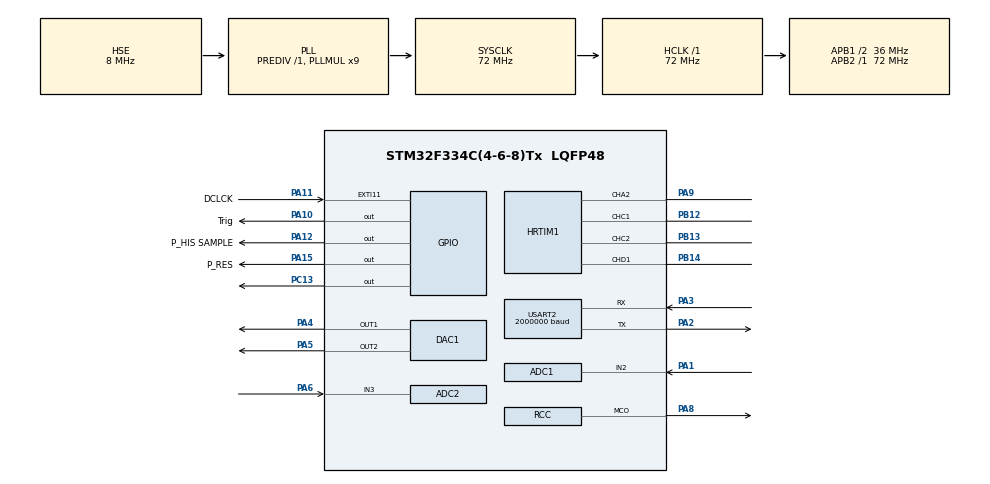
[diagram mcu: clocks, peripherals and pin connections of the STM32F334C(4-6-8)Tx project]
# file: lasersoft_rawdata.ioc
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ADC1.Channel-0\#ChannelRegularConversion=ADC_CHANNEL_2
ADC1.ClockPrescaler=ADC_CLOCK_ASYNC
ADC1.ContinuousConvMode=DISABLE
ADC1.DMAContinuousRequests=ENABLE
ADC1.DataAlign=ADC_DATAALIGN_RIGHT
ADC1.DiscontinuousConvMode=DISABLE
ADC1.EOCSelection=EOC_SINGLE_CONV
ADC1.EnableAnalogWatchDog1=false
ADC1.EnableAnalogWatchDog2=false
ADC1.EnableAnalogWatchDog3=false
ADC1.EnableInjectedConversion=ENABLE
ADC1.EnableRegularConversion=ENABLE
ADC1.ExternalTrigConv=ADC_EXTERNALTRIGCONV_T1_CC2
ADC1.ExternalTrigConvEdge=ADC_EXTERNALTRIGCONVEDGE_RISING
ADC1.InjNumberOfConversion=0
ADC1.LowPowerAutoWait=DISABLE
ADC1.NbrOfConversion=1
ADC1.NbrOfConversionFlag=1
ADC1.Offset-0\#ChannelRegularConversion=0
ADC1.OffsetNumber-0\#ChannelRegularConversion=ADC_OFFSET_NONE
ADC1.Overrun=OVR_DATA_OVERWRITTEN
ADC1.Rank-0\#ChannelRegularConversion=1
ADC1.Resolution=ADC_RESOLUTION12b
ADC1.SamplingTime-0\#ChannelRegularConversion=ADC_SAMPLETIME_2CYCLES_5
ADC1.ScanConvMode=ADC_SCAN_DISABLE
ADC1.SubFamily=STM32F334x8
ADC1.master=1
ADC2.Channel-0\#ChannelRegularConversion=ADC_CHANNEL_3
ADC2.ClockPrescaler=ADC_CLOCK_ASYNC
ADC2.ContinuousConvMode=DISABLE
ADC2.DMAContinuousRequests=ENABLE
ADC2.DataAlign=ADC_DATAALIGN_RIGHT
ADC2.DiscontinuousConvMode=DISABLE
ADC2.EOCSelection=EOC_SINGLE_CONV
ADC2.EnableAnalogWatchDog1=false
ADC2.EnableAnalogWatchDog2=false
ADC2.EnableAnalogWatchDog3=false
ADC2.EnableInjectedConversion=ENABLE
ADC2.EnableRegularConversion=ENABLE
ADC2.ExternalTrigConv=ADC_EXTERNALTRIGCONV_T1_CC3
ADC2.ExternalTrigConvEdge=ADC_EXTERNALTRIGCONVEDGE_RISING
ADC2.InjNumberOfConversion=0
ADC2.LowPowerAutoWait=DISABLE
ADC2.NbrOfConversion=1
ADC2.NbrOfConversionFlag=1
ADC2.Offset-0\#ChannelRegularConversion=0
ADC2.OffsetNumber-0\#ChannelRegularConversion=ADC_OFFSET_NONE
ADC2.Overrun=OVR_DATA_OVERWRITTEN
ADC2.Rank-0\#ChannelRegularConversion=1
ADC2.Resolution=ADC_RESOLUTION12b
ADC2.SamplingTime-0\#ChannelRegularConversion=ADC_SAMPLETIME_2CYCLES_5
ADC2.ScanConvMode=ADC_SCAN_DISABLE
ADC2.SubFamily=STM32F334x8
Dma.ADC1.1.Direction=DMA_PERIPH_TO_MEMORY
Dma.ADC1.1.Instance=DMA1_Channel1
Dma.ADC1.1.MemDataAlignment=DMA_MDATAALIGN_HALFWORD
Dma.ADC1.1.MemInc=DMA_MINC_ENABLE
Dma.ADC1.1.Mode=DMA_CIRCULAR
Dma.ADC1.1.PeriphDataAlignment=DMA_PDATAALIGN_HALFWORD
Dma.ADC1.1.PeriphInc=DMA_PINC_DISABLE
Dma.ADC1.1.Priority=DMA_PRIORITY_HIGH
Dma.ADC2.2.Direction=DMA_PERIPH_TO_MEMORY
Dma.ADC2.2.Instance=DMA1_Channel2
Dma.ADC2.2.MemDataAlignment=DMA_MDATAALIGN_HALFWORD
Dma.ADC2.2.MemInc=DMA_MINC_ENABLE
Dma.ADC2.2.Mode=DMA_CIRCULAR
Dma.ADC2.2.PeriphDataAlignment=DMA_PDATAALIGN_HALFWORD
Dma.ADC2.2.PeriphInc=DMA_PINC_DISABLE
Dma.ADC2.2.Priority=DMA_PRIORITY_HIGH
Dma.Request0=USART2_TX
Dma.Request1=ADC1
Dma.Request2=ADC2
Dma.USART2_TX.0.Direction=DMA_MEMORY_TO_PERIPH
Dma.USART2_TX.0.Instance=DMA1_Channel7
Dma.USART2_TX.0.MemDataAlignment=DMA_MDATAALIGN_BYTE
Dma.USART2_TX.0.MemInc=DMA_MINC_ENABLE
Dma.USART2_TX.0.Mode=DMA_CIRCULAR
Dma.USART2_TX.0.PeriphDataAlignment=DMA_PDATAALIGN_BYTE
Dma.USART2_TX.0.PeriphInc=DMA_PINC_DISABLE
Dma.USART2_TX.0.Priority=DMA_PRIORITY_LOW
HRTIM1.CompareUnit1-Output_TC1TC2=HRTIM_COMPAREUNIT_1
HRTIM1.CompareUnit1-Output_TD1=HRTIM_COMPAREUNIT_1
HRTIM1.CompareUnit2-Output_TA2=HRTIM_COMPAREUNIT_2
HRTIM1.CompareUnit2-Output_TC1TC2=HRTIM_COMPAREUNIT_2
HRTIM1.CompareUnit2-Output_TD1=HRTIM_COMPAREUNIT_2
HRTIM1.CompareUnit3-Output_TC1TC2=HRTIM_COMPAREUNIT_3
HRTIM1.CompareUnit3-Output_TD1=HRTIM_COMPAREUNIT_3
HRTIM1.CompareValue1-Output_TC1TC2=100
HRTIM1.CompareValue1-Output_TD1=99
HRTIM1.CompareValue2-Output_TA2=185
HRTIM1.CompareValue2-Output_TC1TC2=285
HRTIM1.CompareValue2-Output_TD1=185
HRTIM1.CompareValue3-Output_TC1TC2=469
HRTIM1.CompareValue3-Output_TD1=470
HRTIM1.ModeTimeBase-Output_TA2=HRTIM_MODE_SINGLESHOT
HRTIM1.ModeTimeBase-Output_TC1TC2=HRTIM_MODE_SINGLESHOT
HRTIM1.ModeTimeBase-Output_TD1=HRTIM_MODE_SINGLESHOT
HRTIM1.NumberResetSource1-Output_TC1TC2=1
HRTIM1.NumberResetSource1-Output_TD1=1
HRTIM1.NumberResetSource2-Output_TA2=1
HRTIM1.NumberResetSource2_TC=1
HRTIM1.NumberSetSource1-Output_TC1TC2=1
HRTIM1.NumberSetSource1-Output_TD1=1
HRTIM1.NumberSetSource2-Output_TA2=1
HRTIM1.NumberSetSource2_TC=1
HRTIM1.Periode_TA=46080
HRTIM1.Periode_TC=46080
HRTIM1.Periode_TD=46080
HRTIM1.Polarity1-Output_TD1=HRTIM_OUTPUTPOLARITY_LOW
HRTIM1.ResetOutput1_Source1-Output_TC1TC2=HRTIM_OUTPUTRESET_TIMCMP2
HRTIM1.ResetOutput1_Source1-Output_TD1=HRTIM_OUTPUTRESET_TIMCMP3
HRTIM1.ResetOutput2_Source1-Output_TA2=HRTIM_OUTPUTRESET_TIMCMP2
HRTIM1.ResetOutput2_Source1-Output_TC1TC2=HRTIM_OUTPUTRESET_TIMCMP3
HRTIM1.SetOutput1_Source1-Output_TC1TC2=HRTIM_OUTPUTSET_TIMCMP1
HRTIM1.SetOutput1_Source1-Output_TD1=HRTIM_OUTPUTSET_TIMCMP1
HRTIM1.SetOutput2_Source1-Output_TA2=HRTIM_OUTPUTSET_RESYNC
HRTIM1.SetOutput2_Source1-Output_TC1TC2=HRTIM_OUTPUTSET_TIMCMP2
Mcu.Family=STM32F3
Mcu.Name=STM32F334C(4-6-8)Tx
Mcu.Package=LQFP48
NVIC.DMA1_Channel1_IRQn=true\:0\:0\:true
NVIC.DMA1_Channel2_IRQn=true\:0\:0\:false
NVIC.DMA1_Channel7_IRQn=true\:1\:1\:true
NVIC.PriorityGroup=NVIC_PRIORITYGROUP_2
NVIC.TIM1_UP_TIM16_IRQn=true\:2\:0\:true
NVIC.USART2_IRQn=true\:1\:1\:true
PA1.Mode=IN2-Single-Ended
PA1.Signal=ADC1_IN2
PA10.GPIO_Label=Trig
PA10.GPIO_ModeDefaultOutputPP=GPIO_MODE_OUTPUT_PP
PA10.GPIO_PuPd=GPIO_NOPULL
PA10.GPIO_Speed=GPIO_SPEED_MEDIUM
PA10.Signal=GPIO_Output
PA11.GPIO_Label=DCLCK
PA11.GPIO_ModeDefaultEXTI=GPIO_MODE_EVT_RISING
PA11.GPIO_PuPd=GPIO_NOPULL
PA11.Signal=GPXTI11
PA12.GPIO_Label=P_HIS SAMPLE
PA12.GPIO_ModeDefaultOutputPP=GPIO_MODE_OUTPUT_PP
PA12.GPIO_PuPd=GPIO_NOPULL
PA12.GPIO_Speed=GPIO_SPEED_MEDIUM
PA12.Signal=GPIO_Output
PA13.Mode=Trace-Asynchronous_SW
PA13.Signal=SYS_JTMS-SWDIO
PA14.Mode=Trace-Asynchronous_SW
PA14.Signal=SYS_JTCK-SWCLK
PA15.GPIO_Label=P_RES
PA15.GPIO_ModeDefaultOutputPP=GPIO_MODE_OUTPUT_PP
PA15.GPIO_PuPd=GPIO_NOPULL
PA15.GPIO_Speed=GPIO_SPEED_MEDIUM
PA15.Signal=GPIO_Output
PA2.Mode=Asynchronous
PA2.Signal=USART2_TX
PA3.Mode=Asynchronous
PA3.Signal=USART2_RX
PA4.Signal=COMP_DAC11_group
PA5.Signal=COMP_DAC12_group
PA6.Mode=IN3-Single-Ended
PA6.Signal=ADC2_IN3
PA8.GPIO_Mode=GPIO_MODE_AF_PP
PA8.GPIO_PuPd=GPIO_NOPULL
PA8.GPIO_Speed=GPIO_SPEED_HIGH
PA8.Mode=Clock-out
PA8.Signal=RCC_MCO
PA9.Mode=Output_TA2
PA9.Signal=HRTIM1_CHA2
PB12.Mode=Output_TC1TC2
PB12.Signal=HRTIM1_CHC1
PB13.Mode=Output_TC1TC2
PB13.Signal=HRTIM1_CHC2
PB14.Mode=Output_TD1
PB14.Signal=HRTIM1_CHD1
PB3.Mode=Trace-Asynchronous_SW
PB3.Signal=SYS_JTDO-TRACESWO
PC13.GPIO_ModeDefaultOutputPP=GPIO_MODE_OUTPUT_OD
PC13.GPIO_PuPd=GPIO_NOPULL
PC13.GPIO_Speed=GPIO_SPEED_LOW
PC13.Signal=GPIO_Output
PF0\ /\ OSC_IN.Mode=HSE-External-Oscillator
PF0\ /\ OSC_IN.Signal=RCC_OSC_IN
PF1\ /\ OSC_OUT.Mode=HSE-External-Oscillator
PF1\ /\ OSC_OUT.Signal=RCC_OSC_OUT
ProjectManager.TargetToolchain=MDK-ARM V5
RCC.AHBFreq_Value=72000000
RCC.APB1CLKDivider=RCC_HCLK_DIV2
RCC.APB1Freq_Value=36000000
RCC.APB1TimFreq_Value=72000000
RCC.APB2Freq_Value=72000000
RCC.APB2TimFreq_Value=72000000
RCC.CortexFreq_Value=72000000
RCC.HCLKFreq_Value=72000000
RCC.HRTIMSelection=RCC_HRTIM1CLK_PLLCLK
RCC.HSE_VALUE=8000000
RCC.HSIState=RCC_HSI_ON
RCC.HSI_VALUE=8000000
RCC.LSE_VALUE=32768
RCC.PLLMUL=RCC_PLL_MUL9
RCC.PLLSourceVirtual=RCC_PLLSOURCE_HSE
RCC.RCC_MCODiv=RCC_MCO_DIV2
RCC.RCC_MCOMult_Clock_Source_FROM_PLLMUL=RCC_MCOSOURCE_PLLCLK_DIV2
RCC.RCC_MCOSource=RCC_MCOSOURCE_HSE
RCC.SYSCLKFreq_VALUE=72000000
RCC.SYSCLKSourceVirtual=RCC_SYSCLKSOURCE_PLLCLK
RCC.Usart2ClockSelection=RCC_USART2CLKSOURCE_SYSCLK
SH.COMP_DAC11_group.0=DAC1_OUT1,DAC_OUT1
SH.COMP_DAC12_group.0=DAC1_OUT2,DAC_OUT2
TIM1.Period=500
TIM1.Prescaler=72
USART2.BaudRate=2000000
USART2.WordLength=UART_WORDLENGTH_8B
VP_IWDG_VS_IWDG.Mode=IWDG_Activate
VP_TIM1_VS_ClockSourceINT.Mode=Internal
board=lasersoft_nondebug

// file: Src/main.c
/**
  ******************************************************************************
  * File Name          : main.c
  * Description        : Main program body
  ******************************************************************************
  *
  * COPYRIGHT(c) 2015 STMicroelectronics
  *
  * Redistribution and use in source and binary forms, with or without modification,
  * are permitted provided that the following conditions are met:
  *   1. Redistributions of source code must retain the above copyright notice,
  *      this list of conditions and the following disclaimer.
  *   2. Redistributions in binary form must reproduce the above copyright notice,
  *      this list of conditions and the following disclaimer in the documentation
  *      and/or other materials provided with the distribution.
  *   3. Neither the name of STMicroelectronics nor the names of its contributors
  *      may be used to endorse or promote products derived from this software
  *      without specific prior written permission.
  *
  * THIS SOFTWARE IS PROVIDED BY THE COPYRIGHT HOLDERS AND CONTRIBUTORS "AS IS"
  * AND ANY EXPRESS OR IMPLIED WARRANTIES, INCLUDING, BUT NOT LIMITED TO, THE
  * IMPLIED WARRANTIES OF MERCHANTABILITY AND FITNESS FOR A PARTICULAR PURPOSE ARE
  * DISCLAIMED. IN NO EVENT SHALL THE COPYRIGHT HOLDER OR CONTRIBUTORS BE LIABLE
  * FOR ANY DIRECT, INDIRECT, INCIDENTAL, SPECIAL, EXEMPLARY, OR CONSEQUENTIAL
  * DAMAGES (INCLUDING, BUT NOT LIMITED TO, PROCUREMENT OF SUBSTITUTE GOODS OR
  * SERVICES; LOSS OF USE, DATA, OR PROFITS; OR BUSINESS INTERRUPTION) HOWEVER
  * CAUSED AND ON ANY THEORY OF LIABILITY, WHETHER IN CONTRACT, STRICT LIABILITY,
  * OR TORT (INCLUDING NEGLIGENCE OR OTHERWISE) ARISING IN ANY WAY OUT OF THE USE
  * OF THIS SOFTWARE, EVEN IF ADVISED OF THE POSSIBILITY OF SUCH DAMAGE.
  *
  ******************************************************************************
  */
#include "stm32f3xx_hal.h"
#include "adc.h"
#include "dac.h"
#include "dma.h"
#include "hrtim.h"
#include "iwdg.h"
#include "tim.h"
#include "usart.h"
#include "gpio.h"

/* USER CODE BEGIN Includes */
#include <string.h>
#include <math.h>
/* USER CODE END Includes */

/* USER CODE BEGIN PV */

//5 lasers

//#define laser_red

//#define laser_J

//#define laser_S

//#define laser_K

#define laser_T

/* USER CODE END PV */

void SystemClock_Config(void);

/* USER CODE BEGIN PFP */
#define DAC_1V 1240
#define DAC_2_125V 2530
//#define LASER850
//#define DIST_MEASURE

uint16_t ADC_DATABUFF_A[272];
uint16_t ADC_DATABUFF_B[272];

uint16_t ADC_RESET_A[272];
uint16_t ADC_RESET_B[272];

uint16_t ADC_AMBIENT_A[272];// per 100ms....
uint16_t ADC_AMBIENT_B[272];

float poly[7];

//status, for checking calculation in main while(1)
typedef enum {idle=0,converting=1,finished=2}ADC_STATUS;
typedef enum {ambient=0,normal=1}WORKING_STATUS;
//ADC and temporary working status
volatile ADC_STATUS ADCStatus;
WORKING_STATUS WORKINGStatus;
//distance data
uint16_t DISTANCE_DATA[274]; //use this to store distance data.
uint16_t TEST_DATA[8][274];
//raw data buff
volatile uint16_t TXRAWBUFF[548];   // head 1,  num 1, count num 1, A 272, B 272, tail 1........ ALL 550(544+1+1+1+1)
//reserved
volatile uint16_t TXBUFF[274];
int TIMERCOUNTER = 0;
uint8_t UART_RE_DATA[2];
int pulse_num = 0;

float ambient_coef;

// A lot of parameters used to calculate the distance
float SR = 1.04; // sensitivity ratio
float Dofs = 2.0;  // distance offset
float Tilt = 1.0;   //tilt value
float top,bot;
int record[8];
//these values could be changed by usart

/* USER CODE END PFP */

/* USER CODE BEGIN 0 */
extern void DelayUs(uint32_t dwTime);
extern void Delay250ns(uint32_t dwTime);
/* USER CODE END 0 */

int main(void)
{

  /* USER CODE BEGIN 1 */
#ifdef DIST_MEASURE
  DISTANCE_DATA[0] = 0xa1a2;
	DISTANCE_DATA[273] = 0x2b2a;
#else
	 TXRAWBUFF[0] = 0xa1a2;
	 TXRAWBUFF[547] = 0x2b2a;
#endif

  /* USER CODE END 1 */

  /* MCU Configuration----------------------------------------------------------*/

  /* Reset of all peripherals, Initializes the Flash interface and the Systick. */
  HAL_Init();

  /* Configure the system clock */
  SystemClock_Config();

  /* Initialize all configured peripherals */
  MX_GPIO_Init();
  MX_DMA_Init();
  MX_ADC1_Init();
  MX_ADC2_Init();
  MX_DAC1_Init();
  MX_HRTIM1_Init();
  MX_IWDG_Init();
  MX_TIM1_Init();
  MX_USART2_UART_Init();

  /* USER CODE BEGIN 2 */

	/****************************
	HRTIM CONFIGURATION:
			PB12=C1=VTX1    PB13=C2=VTX2
			PB14=D1=VTX3    PA9=A2=PULSE
	******************************/
	{
	//channel C TC1 and TC2    as VTX1 and VTX2
		//test!!! should be in a function
		{
			int hrtim_offset = -40;
#ifdef LASER850
			hhrtim1.Instance->sTimerxRegs[HRTIM_TIMERINDEX_TIMER_C].CMP2xR = 100 + 139;
			hhrtim1.Instance->sTimerxRegs[HRTIM_TIMERINDEX_TIMER_C].CMP3xR = 100 + 139 + 139;
			hhrtim1.Instance->sTimerxRegs[HRTIM_TIMERINDEX_TIMER_D].CMP3xR = 100 + 139 + 139 + 1;
		//pulse = 30nm
			hhrtim1.Instance->sTimerxRegs[HRTIM_TIMERINDEX_TIMER_A].CMP2xR = 139;
			hrtim_offset = 20;

#endif

			// using offset to define delay after the pulse......      905nm 20   850nm 0?  need to be test
			hhrtim1.Instance->sTimerxRegs[HRTIM_TIMERINDEX_TIMER_C].CMP1xR += hrtim_offset;
			hhrtim1.Instance->sTimerxRegs[HRTIM_TIMERINDEX_TIMER_C].CMP2xR += hrtim_offset;
			hhrtim1.Instance->sTimerxRegs[HRTIM_TIMERINDEX_TIMER_C].CMP3xR += hrtim_offset;

			// 5 is for the offset of VTX3  should be faster and slower than VTX1 and VTX2`
			hhrtim1.Instance->sTimerxRegs[HRTIM_TIMERINDEX_TIMER_D].CMP1xR += hrtim_offset-5;

						//this is the pulse remain constant
			hhrtim1.Instance->sTimerxRegs[HRTIM_TIMERINDEX_TIMER_A].CMP2xR += 0;

			hhrtim1.Instance->sTimerxRegs[HRTIM_TIMERINDEX_TIMER_D].CMP3xR += hrtim_offset+5;
		}
		HAL_HRTIM_WaveformOutputStart(&hhrtim1,HRTIM_OUTPUT_TC1);
		HAL_HRTIM_WaveformOutputStart(&hhrtim1,HRTIM_OUTPUT_TC2);
		//channel D TD1   as VTX3   channel D TA2 as PULSE
		HAL_HRTIM_WaveformOutputStart(&hhrtim1,HRTIM_OUTPUT_TD1);
		HAL_HRTIM_WaveformOutputStart(&hhrtim1,HRTIM_OUTPUT_TA2);
		// start timer
		HAL_HRTIM_WaveformCounterStart(&hhrtim1,HRTIM_TIMERID_TIMER_A|HRTIM_TIMERID_TIMER_C|HRTIM_TIMERID_TIMER_D);
	}

	/****************************
	DAC CONFIGURATION:
			PA5=DAC2=4.25V/2=2.125V	=	2638*3.3/4096
			PA4=DAC1=1.0V		=		1241*3.3/4096
	******************************/
{
	HAL_DAC_SetValue(&hdac1,DAC_CHANNEL_1,DAC_ALIGN_12B_R,DAC_1V);
	HAL_DAC_SetValue(&hdac1,DAC_CHANNEL_2,DAC_ALIGN_12B_R,DAC_2_125V);
	HAL_DAC_Start(&hdac1,DAC_CHANNEL_1);
	HAL_DAC_Start(&hdac1,DAC_CHANNEL_2);
}

	/****************************
		ADC_CONFIGURATION:
		BUFFER:    ADC_BUFF_A[272] and  ADC_BUFF_B[272];
	******************************/
{
	  //start calibration first
		HAL_ADCEx_Calibration_Start(&hadc1,ADC_SINGLE_ENDED);
		HAL_ADCEx_Calibration_Start(&hadc2,ADC_SINGLE_ENDED);
		HAL_Delay(1);
		//then start DMA
	  HAL_ADC_Start_DMA(&hadc1,(uint32_t *)ADC_RESET_A,272);
		HAL_ADC_Start_DMA(&hadc2,(uint32_t *)ADC_RESET_B,272);
}
	/****************************
		UART Transmit and Receive
	******************************/
{

	//HAL_UART_Transmit_DMA(&huart1,(uint8_t *)ADC_BUFF_B,544);
	HAL_UART_Receive_IT(&huart2,UART_RE_DATA,sizeof(UART_RE_DATA));
//	HAL_UART_DMAPause(&huart2);

}
	/****************************
		TIM1 100us interrupt...
	******************************/
	 HAL_TIM_Base_Start_IT(&htim1);
	 WORKINGStatus = ambient;
   ADCStatus = idle;
		/****************************
	Independent Watch Dog
	******************************/
	 HAL_IWDG_Start(&hiwdg);
  int calcu_num = 0;

#ifdef laser_red
   poly[0] = 1.648001258107309e+06;
   poly[1] = -5.305835891559632e+06;
   poly[2] = 7.127857366587162e+06;
   poly[3] = -5.110547144753641e+06;
   poly[4] = 2.060999435889212e+06;
   poly[5] = -4.423848603771256e+05;
   poly[6] = 3.937815633389474e+04;
#endif

#ifdef laser_J
   poly[0] = 1.080440225625779e+08;
   poly[1] = -3.556482005898511e+08;
   poly[2] = 4.867548201126678e+08;
   poly[3] = -3.545370162671905e+08;
   poly[4] = 1.449389941243733e+08;
   poly[5] = -3.153135596974714e+07;
   poly[6] = 2.851713932900287e+06;
#endif

#ifdef laser_S
   poly[0] = 9.949860195210000e+06;
   poly[1] = -3.403464644171004e+07;
   poly[2] = 4.794349816654099e+07;
   poly[3] = -3.564527930065927e+07;
   poly[4] = 1.476790480367754e+07;
   poly[5] = -3.235046134612700e+06;
   poly[6] = 2.928797455444256e+05;
#endif

#ifdef laser_K
   poly[0] = 2.147918234375362e+06;
   poly[1] = -7.736068312640203e+06;
   poly[2] = 1.154494186428487e+07;
   poly[3] = -9.137795412258314e+06;
   poly[4] = 4.045684724836031e+06;
   poly[5] = -9.494901699902674e+05;
   poly[6] = 9.219599710241470e+04;
#endif

#ifdef laser_T
   poly[0] = -6.539712337289967e+05;
   poly[1] =  2.522196790614386e+06;
   poly[2] = -3.966911268599921e+06;
   poly[3] = 3.266065347655729e+06;
   poly[4] = -1.487548484816432e+06;
   poly[5] = 3.563561476000117e+05;
   poly[6] = -3.519452184644648e+04;
#endif

  /* USER CODE END 2 */

  /* Infinite loop */
  while (1)
  {

  /* USER CODE BEGIN 3 */

		//HAL_Delay(1);
		if(ADCStatus==finished){
			ADCStatus = idle;  //idle mode...
			//switch status, to do the calculation....

			for(int i=0;i<272;i++){
				//Vreset2 - Vout2 - Vambient2     Cap2 discharge mount
				 top = ADC_RESET_B[i] - ADC_DATABUFF_B[i] - ambient_coef ;
				//(Vreset1 - Vout1 - Vambient1)*SR     Cap1 discharge mount
				 bot = SR * (ADC_RESET_A[i] - ADC_DATABUFF_A[i]) - ambient_coef;
				//light speed in air = 2.9952816
				if(i==176)  //conpensate for pixel 176
					bot *= 1.04;

#ifdef   DIST_MEASURE

				float k = top/(bot+top);
				float dist;
				if(bot>2500||bot<0)
                       dist= 0;
        else if(bot+top>100 + (ambient_coef/0.053) * 0.4){
					dist = poly[0]*k*k*k*k*k*k + poly[1]*k*k*k*k*k + poly[2]*k*k*k*k
                               + poly[3]*k*k*k + poly[4]*k*k + poly[5]*k + poly[6]  + 3.4 - 10*k;
			}
				else
					dist = 0;
				//dist cant be minus
				dist = dist>0?dist:0;

				//then we need to consider to get the average distance data,
				//perhaps the last one is much more accurate....
				//need to be tested.
//			if(ADC_DATABUFF_A[i]<3500||ADC_DATABUFF_B[i]<3500){
//				dist = (dist + (float)DISTANCE_DATA[i]/10000)/2;
//			}
				//here we need to consider the saturation...
				//1500 = 1.2V  saturation, will use the previous data
				if(ADC_DATABUFF_A[i]>2200&&ADC_DATABUFF_B[i]>2200){
					//&&ADC_DATABUFF_A[i]<3700&&ADC_DATABUFF_B[i]<3700){
					DISTANCE_DATA[i+1] = (uint16_t)(dist * 100);  //0~60000,  at most 6 meters....
					}
			  	//ADC_DATABUFF_B[i] = 0;
					//ADC_DATABUFF_A[i] = 0;

			}
			record[calcu_num] = TIMERCOUNTER;
			memcpy(&TEST_DATA[calcu_num][274],DISTANCE_DATA,sizeof(DISTANCE_DATA));
			calcu_num++;
			if(calcu_num>=6)
				calcu_num = 0;
		}

#else   //raw data
		         //now put the raw data into the transmit buffer...
		         TXRAWBUFF[3 + i] = bot; //first put A data in...
		         TXRAWBUFF[3 + 272 + i] = top; //then put the A data in
					}
		}

#endif

		HAL_IWDG_Refresh(&hiwdg);
  }
  /* USER CODE END 3 */

}

/** System Clock Configuration
*/
void SystemClock_Config(void)
{

  RCC_OscInitTypeDef RCC_OscInitStruct;
  RCC_ClkInitTypeDef RCC_ClkInitStruct;
  RCC_PeriphCLKInitTypeDef PeriphClkInit;

  RCC_OscInitStruct.OscillatorType = RCC_OSCILLATORTYPE_LSI|RCC_OSCILLATORTYPE_HSE;
  RCC_OscInitStruct.HSEState = RCC_HSE_ON;
  RCC_OscInitStruct.HSEPredivValue = RCC_HSE_PREDIV_DIV1;
  RCC_OscInitStruct.LSIState = RCC_LSI_ON;
  RCC_OscInitStruct.PLL.PLLState = RCC_PLL_ON;
  RCC_OscInitStruct.PLL.PLLSource = RCC_PLLSOURCE_HSE;
  RCC_OscInitStruct.PLL.PLLMUL = RCC_PLL_MUL9;
  HAL_RCC_OscConfig(&RCC_OscInitStruct);

  RCC_ClkInitStruct.ClockType = RCC_CLOCKTYPE_SYSCLK|RCC_CLOCKTYPE_PCLK1;
  RCC_ClkInitStruct.SYSCLKSource = RCC_SYSCLKSOURCE_PLLCLK;
  RCC_ClkInitStruct.AHBCLKDivider = RCC_SYSCLK_DIV1;
  RCC_ClkInitStruct.APB1CLKDivider = RCC_HCLK_DIV2;
  RCC_ClkInitStruct.APB2CLKDivider = RCC_HCLK_DIV1;
  HAL_RCC_ClockConfig(&RCC_ClkInitStruct, FLASH_LATENCY_2);

  PeriphClkInit.PeriphClockSelection = RCC_PERIPHCLK_HRTIM1|RCC_PERIPHCLK_USART2
                              |RCC_PERIPHCLK_TIM1|RCC_PERIPHCLK_ADC12;
  PeriphClkInit.Usart2ClockSelection = RCC_USART2CLKSOURCE_SYSCLK;
  PeriphClkInit.Adc12ClockSelection = RCC_ADC12PLLCLK_DIV1;
  PeriphClkInit.Tim1ClockSelection = RCC_TIM1CLK_HCLK;
  PeriphClkInit.Hrtim1ClockSelection = RCC_HRTIM1CLK_PLLCLK;
  HAL_RCCEx_PeriphCLKConfig(&PeriphClkInit);

  HAL_RCC_MCOConfig(RCC_MCO, RCC_MCOSOURCE_HSE, RCC_MCO_DIV2);

  HAL_SYSTICK_Config(HAL_RCC_GetHCLKFreq()/1000);

  HAL_SYSTICK_CLKSourceConfig(SYSTICK_CLKSOURCE_HCLK);

  /* SysTick_IRQn interrupt configuration */
  HAL_NVIC_SetPriority(SysTick_IRQn, 1, 0);
}

/************************ (C) COPYRIGHT STMicroelectronics *****END OF FILE****/
